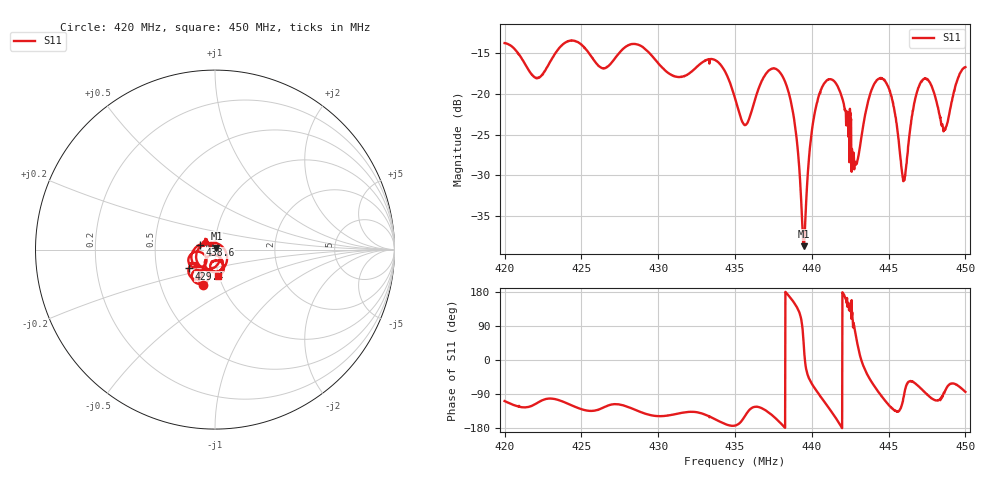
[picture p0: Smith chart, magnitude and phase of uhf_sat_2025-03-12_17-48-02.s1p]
! NanoVNA-App
! Date: 2025-03-12 17:48:38
! Start: 420MHz Stop: 450MHz Points: 1601
! S-Parameter data: F S11
# Hz S RI R 50
!  Frequency  S11_Real  S11_Imag
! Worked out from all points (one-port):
!   1601 points, 420 MHz to 450 MHz, reference 50 ohm
!   lowest |S11| = -38.8 dB at 439.5 MHz (marker M1), VSWR 1.02, Z = 50.8 + j0.875 ohm
!   |S11| at or under -10 dB: start of sweep to end of sweep
!   S11 on the Smith chart (normalised r, x): 420 MHz: 0.82, -0.33; 429.4 MHz: 0.73, -0.16; 438.6 MHz: 0.84, +0.05; 450 MHz: 0.99, -0.29
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4.2e8  -0.0648 -0.1956
4.221e8  -0.051 -0.1146
4.2375e8  -0.0655 -0.1896
4.264125e8  -0.0842 -0.1168
4.275e8  -0.0835 -0.1603
4.293938e8  -0.1465 -0.105
4.3125e8  -0.1002 -0.0789
4.336312e8  -0.1475 -0.0696
4.35e8  -0.0937 -0.0114
4.357125e8  -0.0524 -0.038
4.375312e8  -0.1246 -0.0728
4.386375e8  -0.0858 0.0271
4.3875e8  -0.0733 0.0316
4.394625e8  0.00768 0.00862
4.40025e8  0.0267 -0.0553
4.407188e8  -0.0288 -0.1087
4.416375e8  -0.105 -0.0433
4.425e8  -0.0461 0.0575
4.429125e8  0.0214 0.0306
4.43775e8  0.0631 -0.0754
4.445438e8  -0.0118 -0.1237
4.45275e8  -0.0553 -0.0688
4.459312e8  -0.0101 -0.0288
4.4625e8  0.0224 -0.0379
4.4715e8  0.0268 -0.1159
4.4775e8  -0.0192 -0.1132
4.486688e8  0.00758 -0.0602
4.5e8  0.015 -0.1458
